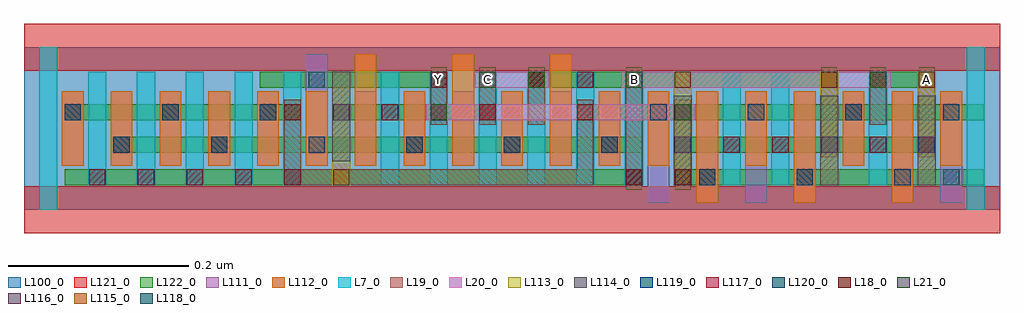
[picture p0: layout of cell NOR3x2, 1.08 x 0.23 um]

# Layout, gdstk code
import gdstk
lib = gdstk.Library(unit=1e-6, precision=2.5e-10)
def R(c, l, rs):  # rectangles x0, y0, x1, y1
    for r in rs: c.add(gdstk.rectangle(r[:2], r[2:], *l))
def A(c, l, x, y, w, h, nx, ny, dx, dy):  # array of equal rectangles
    R(c, l, [(x+i*dx, y+j*dy, x+i*dx+w, y+j*dy+h) for i in range(nx) for j in range(ny)])
def P(c, l, *ps):  # polygons
    for p in ps: c.add(gdstk.Polygon(p, *l))
L7_0 = (7, 0)
L18_0 = (18, 0)
L19_0 = (19, 0)
L20_0 = (20, 0)
L21_0 = (21, 0)
L100_0 = (100, 0)
L111_0 = (111, 0)
L112_0 = (112, 0)
L113_0 = (113, 0)
L114_0 = (114, 0)
L115_0 = (115, 0)
L116_0 = (116, 0)
L117_0 = (117, 0)
L118_0 = (118, 0)
L119_0 = (119, 0)
L120_0 = (120, 0)
L121_0 = (121, 0)
L122_0 = (122, 0)

nor3x2 = lib.new_cell('NOR3x2')
A(nor3x2, L7_0, 0.071, 0.027, 0.02, 0.126, 5, 1, 0.054, 0)
A(nor3x2, L7_0, 0.395, 0.027, 0.02, 0.126, 6, 1, 0.054, 0)
R(nor3x2, L7_0, [(0.017,0,0.037,0.18), (1.043,0,1.063,0.18), (0.773,0.027,0.793,0.153), (0.827,0.027,0.847,0.153), (0.935,0.027,0.955,0.153)])
R(nor3x2, L18_0, [(0.666,0.027,0.684,0.045), (0.72,0.027,0.738,0.045), (0.99,0.063,1.008,0.081), (0.288,0.099,0.306,0.117), (0.504,0.099,0.522,0.117), (0.612,0.099,0.63,0.117), (0.45,0.135,0.468,0.153), (0.558,0.135,0.576,0.153), (0.882,0.135,0.9,0.153), (0.936,0.135,0.954,0.153)])
A(nor3x2, L19_0, 0.45, 0.094, 0.018, 0.064, 3, 1, 0.054, 0)
R(nor3x2, L19_0, [(0.666,0.022,0.684,0.158), (0.72,0.022,0.738,0.122), (0.882,0.058,0.9,0.158), (0.99,0.058,1.008,0.158), (0.936,0.094,0.954,0.158)])
P(nor3x2, L19_0, [(0.288,0.122),(0.306,0.122),(0.306,0.045),(0.612,0.045),(0.612,0.122),(0.63,0.122),(0.63,0.027),(0.288,0.027)])
R(nor3x2, L20_0, [(0.445,0.099,0.743,0.117), (0.499,0.135,0.581,0.153), (0.661,0.135,0.959,0.153)])
R(nor3x2, L21_0, [(0.45,0.099,0.468,0.117), (0.72,0.099,0.738,0.117), (0.504,0.135,0.522,0.153), (0.558,0.135,0.576,0.153), (0.666,0.135,0.684,0.153), (0.936,0.135,0.954,0.153)])
R(nor3x2, L100_0, [(0,0,1.08,0.18)])
A(nor3x2, L111_0, 0.69, 0.008, 0.024, 0.123, 4, 1, 0.054, 0)
A(nor3x2, L111_0, 0.042, 0.049, 0.024, 0.082, 5, 1, 0.054, 0)
A(nor3x2, L111_0, 0.366, 0.049, 0.024, 0.082, 6, 1, 0.054, 0)
R(nor3x2, L111_0, [(0.96,0.008,0.984,0.131), (1.014,0.008,1.038,0.131), (0.312,0.049,0.336,0.172), (0.906,0.049,0.93,0.131)])
A(nor3x2, L112_0, 0.744, 0.008, 0.024, 0.123, 3, 1, 0.108, 0)
A(nor3x2, L112_0, 0.042, 0.049, 0.024, 0.082, 6, 1, 0.054, 0)
A(nor3x2, L112_0, 0.366, 0.049, 0.024, 0.123, 3, 1, 0.108, 0)
A(nor3x2, L112_0, 0.42, 0.049, 0.024, 0.082, 3, 1, 0.108, 0)
A(nor3x2, L112_0, 0.69, 0.049, 0.024, 0.082, 4, 1, 0.108, 0)
R(nor3x2, L113_0, [(0.341,0.027,0.361,0.153), (0.719,0.027,0.739,0.153), (0.881,0.027,0.901,0.153), (0.989,0.027,1.009,0.153)])
R(nor3x2, L114_0, [(0.719,0.027,0.739,0.126), (0.881,0.027,0.901,0.126), (0.989,0.027,1.009,0.126), (0.341,0.054,0.361,0.153)])
R(nor3x2, L115_0, [(0.342,0.027,0.36,0.045), (0.72,0.135,0.738,0.153), (0.882,0.135,0.9,0.153), (0.99,0.135,1.008,0.153)])
R(nor3x2, L116_0, [(0.72,0.063,0.738,0.081), (0.882,0.063,0.9,0.081), (0.99,0.063,1.008,0.081), (0.342,0.099,0.36,0.117)])
A(nor3x2, L117_0, 0.072, 0.027, 0.018, 0.018, 5, 1, 0.054, 0)
A(nor3x2, L117_0, 0.396, 0.099, 0.018, 0.018, 3, 1, 0.054, 0)
R(nor3x2, L117_0, [(0.666,0.027,0.684,0.045), (0.774,0.063,0.792,0.081), (0.828,0.063,0.846,0.081), (0.936,0.063,0.954,0.081), (0.558,0.135,0.576,0.153), (0.612,0.135,0.63,0.153)])
R(nor3x2, L118_0, [(1.017,0.027,1.035,0.045), (0.315,0.135,0.333,0.153)])
A(nor3x2, L119_0, 0.747, 0.027, 0.018, 0.018, 3, 1, 0.108, 0)
A(nor3x2, L119_0, 0.099, 0.063, 0.018, 0.018, 6, 1, 0.108, 0)
A(nor3x2, L119_0, 0.045, 0.099, 0.018, 0.018, 3, 1, 0.108, 0)
A(nor3x2, L119_0, 0.693, 0.099, 0.018, 0.018, 4, 1, 0.108, 0)
A(nor3x2, L120_0, 0.423, 0.063, 0.018, 0.018, 3, 1, 0.108, 0)
A(nor3x2, L120_0, 0.045, 0.099, 0.018, 0.018, 3, 1, 0.108, 0)
R(nor3x2, L120_0, [(0.747,0.027,0.765,0.045), (0.855,0.027,0.873,0.045), (0.099,0.063,0.117,0.081), (0.207,0.063,0.225,0.081), (0.909,0.099,0.927,0.117)])
R(nor3x2, L121_0, [(0,-0.026,1.08,0.026), (0,0.154,1.08,0.206)])
R(nor3x2, L122_0, [(0.045,0.027,0.684,0.045), (0.72,0.027,1.062,0.045), (0.099,0.063,0.684,0.081), (0.72,0.063,1.008,0.081), (0.045,0.099,0.306,0.117), (0.342,0.099,0.522,0.117), (0.612,0.099,1.062,0.117), (0.261,0.135,0.468,0.153), (0.558,0.135,0.9,0.153), (0.936,0.135,1.008,0.153)])
nor3x2.add(gdstk.Label('Y', (0.459,0.144), layer=19, texttype=251))
nor3x2.add(gdstk.Label('C', (0.513,0.144), layer=19, texttype=251))
nor3x2.add(gdstk.Label('B', (0.675,0.144), layer=19, texttype=251))
nor3x2.add(gdstk.Label('A', (0.999,0.144), layer=19, texttype=251))

lib.write_gds('NOR3x2.gds')
